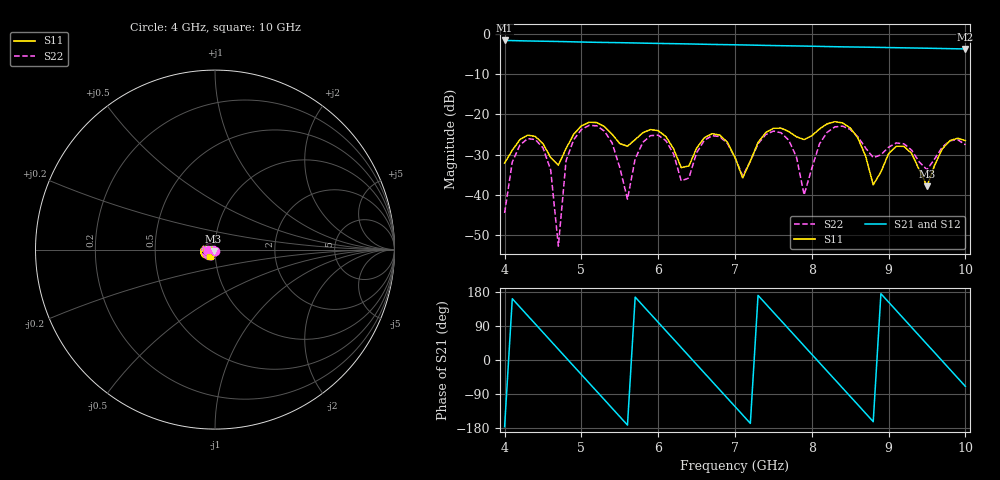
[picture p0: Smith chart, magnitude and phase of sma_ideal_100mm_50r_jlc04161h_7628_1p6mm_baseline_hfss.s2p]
! Touchstone file exported from HFSS 3D Layout Design 2026.1.0
!  File:  D:/Work/ADS/SIMADS_EM_PAR/HFSS_VERDICT/sma_ideal_100mm_50r_hfss_solve.aedt
!  Generated:  11:14:23 PM Aug  3, 2026
!  Design:  SMA_IDEAL_100MM_50R
!  Project:  sma_ideal_100mm_50r_hfss_solve
# GHz S MA R 50.000000
! Terminal data exported
! Port[1] = Port1
! Port[2] = Port2
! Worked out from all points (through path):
!   61 points, 4 GHz to 10 GHz, reference 50 ohm
!   highest |S21| = -1.68 dB at 4 GHz (marker M1); lowest = -3.8 dB at 10 GHz (marker M2)
!   group delay of S21, straight-line fit = 617 ps
!   lowest |S11| = -37.8 dB at 9.5 GHz (marker M3), VSWR 1.03, Z = 49.2 - j0.984 ohm
!   |S11| at or under -10 dB: start of sweep to end of sweep
!   |S22| runs from -52.7 to -22.7 dB; largest |S21 - S12| = 2.9e-14
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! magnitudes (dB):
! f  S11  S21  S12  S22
! 4 GHz  -32.1  -1.7  -1.7  -44.4
! 4.1 GHz  -28.9  -1.7  -1.7  -31.8
! 4.4 GHz  -25.5  -1.8  -1.8  -26.2
! 4.6 GHz  -30.7  -1.9  -1.9  -33.8
! 4.7 GHz  -32.6  -1.9  -1.9  -52.7
! 4.8 GHz  -28.5  -2.0  -2.0  -31.5
! 5 GHz  -22.8  -2.1  -2.1  -23.8
! 5.3 GHz  -23.0  -2.2  -2.2  -24.2
! 5.6 GHz  -27.9  -2.3  -2.3  -41.0
! 6 GHz  -24.0  -2.4  -2.4  -25.2
! 6.3 GHz  -33.2  -2.5  -2.5  -36.5
! 6.7 GHz  -24.8  -2.7  -2.7  -25.3
! 7 GHz  -30.7  -2.8  -2.8  -30.7
! 7.1 GHz  -35.8  -2.8  -2.8  -35.3
! 7.5 GHz  -23.4  -2.9  -2.9  -24.1
! 7.9 GHz  -26.2  -3.1  -3.1  -39.9
! 8 GHz  -25.3  -3.1  -3.1  -33.4
! 8.3 GHz  -21.8  -3.2  -3.2  -23.1
! 8.8 GHz  -37.5  -3.4  -3.4  -30.7
! 9 GHz  -29.7  -3.4  -3.4  -28.1
! 9.5 GHz  -37.8  -3.6  -3.6  -33.7
! 10 GHz  -26.5  -3.8  -3.8  -27.5
